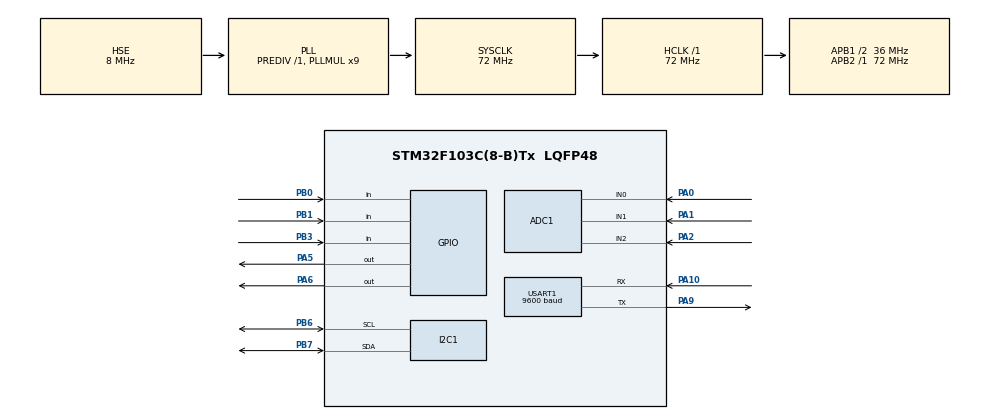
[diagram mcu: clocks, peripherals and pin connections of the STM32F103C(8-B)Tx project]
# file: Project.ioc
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ADC1.Channel-0\#ChannelRegularConversion=ADC_CHANNEL_0
ADC1.Channel-1\#ChannelRegularConversion=ADC_CHANNEL_1
ADC1.Channel-2\#ChannelRegularConversion=ADC_CHANNEL_2
ADC1.ContinuousConvMode=ENABLE
ADC1.NbrOfConversion=3
ADC1.NbrOfConversionFlag=1
ADC1.Rank-0\#ChannelRegularConversion=1
ADC1.Rank-1\#ChannelRegularConversion=2
ADC1.Rank-2\#ChannelRegularConversion=3
ADC1.SamplingTime-0\#ChannelRegularConversion=ADC_SAMPLETIME_239CYCLES_5
ADC1.SamplingTime-1\#ChannelRegularConversion=ADC_SAMPLETIME_239CYCLES_5
ADC1.SamplingTime-2\#ChannelRegularConversion=ADC_SAMPLETIME_239CYCLES_5
ADC1.master=1
Dma.ADC1.0.Direction=DMA_PERIPH_TO_MEMORY
Dma.ADC1.0.Instance=DMA1_Channel1
Dma.ADC1.0.MemDataAlignment=DMA_MDATAALIGN_HALFWORD
Dma.ADC1.0.MemInc=DMA_MINC_ENABLE
Dma.ADC1.0.Mode=DMA_CIRCULAR
Dma.ADC1.0.PeriphDataAlignment=DMA_PDATAALIGN_HALFWORD
Dma.ADC1.0.PeriphInc=DMA_PINC_DISABLE
Dma.ADC1.0.Priority=DMA_PRIORITY_LOW
Dma.Request0=ADC1
FREERTOS.Tasks01=Tast01,0,128,DisplayLCD,Default,NULL,Dynamic,NULL,NULL;Task02,0,128,Warning,Default,NULL,Dynamic,NULL,NULL;Task03,0,128,TogglePin,Default,NULL,Dynamic,NULL,NULL;Task04,0,128,ReadADC,Default,NULL,Dynamic,NULL,NULL
FREERTOS.configUSE_NEWLIB_REENTRANT=1
FREERTOS.copyHeapFile=1
Mcu.Family=STM32F1
Mcu.Name=STM32F103C(8-B)Tx
Mcu.Package=LQFP48
NVIC.ADC1_2_IRQn=true\:0\:0\:false\:false\:true\:false\:true\:true\:true
NVIC.DMA1_Channel1_IRQn=true\:5\:0\:true\:false\:true\:true\:false\:true\:true
NVIC.PriorityGroup=NVIC_PRIORITYGROUP_4
NVIC.TIM1_UP_IRQn=true\:15\:0\:false\:false\:true\:false\:false\:true\:true
NVIC.TimeBase=TIM1_UP_IRQn
NVIC.TimeBaseIP=TIM1
NVIC.USART1_IRQn=true\:0\:0\:true\:false\:true\:false\:true\:true\:true
PA0-WKUP.Signal=ADCx_IN0
PA1.Signal=ADCx_IN1
PA10.Mode=Asynchronous
PA10.Signal=USART1_RX
PA13.Mode=Serial_Wire
PA13.Signal=SYS_JTMS-SWDIO
PA14.Mode=Serial_Wire
PA14.Signal=SYS_JTCK-SWCLK
PA2.Signal=ADCx_IN2
PA5.GPIO_Speed=GPIO_SPEED_FREQ_LOW
PA5.PinState=GPIO_PIN_SET
PA5.Signal=GPIO_Output
PA6.GPIO_Speed=GPIO_SPEED_FREQ_LOW
PA6.PinState=GPIO_PIN_RESET
PA6.Signal=GPIO_Output
PA9.Mode=Asynchronous
PA9.Signal=USART1_TX
PB0.GPIO_PuPd=GPIO_PULLUP
PB0.Signal=GPIO_Input
PB1.GPIO_PuPd=GPIO_PULLUP
PB1.Signal=GPIO_Input
PB3.GPIO_PuPd=GPIO_PULLUP
PB3.Signal=GPIO_Input
PB6.Mode=I2C
PB6.Signal=I2C1_SCL
PB7.Mode=I2C
PB7.Signal=I2C1_SDA
PD0-OSC_IN.Mode=HSE-External-Oscillator
PD0-OSC_IN.Signal=RCC_OSC_IN
PD1-OSC_OUT.Mode=HSE-External-Oscillator
PD1-OSC_OUT.Signal=RCC_OSC_OUT
ProjectManager.HeapSize=0x200
ProjectManager.StackSize=0x400
ProjectManager.TargetToolchain=STM32CubeIDE
RCC.ADCPresc=RCC_ADCPCLK2_DIV6
RCC.AHBFreq_Value=72000000
RCC.APB1CLKDivider=RCC_HCLK_DIV2
RCC.APB1Freq_Value=36000000
RCC.APB1TimFreq_Value=72000000
RCC.APB2Freq_Value=72000000
RCC.APB2TimFreq_Value=72000000
RCC.HCLKFreq_Value=72000000
RCC.PLLMUL=RCC_PLL_MUL9
RCC.PLLSourceVirtual=RCC_PLLSOURCE_HSE
RCC.SYSCLKFreq_VALUE=72000000
RCC.SYSCLKSource=RCC_SYSCLKSOURCE_PLLCLK
RCC.USBFreq_Value=72000000
SH.ADCx_IN0.0=ADC1_IN0,IN0
SH.ADCx_IN1.0=ADC1_IN1,IN1
SH.ADCx_IN2.0=ADC1_IN2,IN2
USART1.BaudRate=9600
USART1.VirtualMode=VM_ASYNC
VP_FREERTOS_VS_CMSIS_V1.Mode=CMSIS_V1
VP_SYS_VS_tim1.Mode=TIM1
board=custom

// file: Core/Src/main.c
/* USER CODE BEGIN Header */
/**
 ******************************************************************************
 * @file           : main.c
 * @brief          : Main program body
 ******************************************************************************
 * @attention
 *
 * Copyright (c) 2023 STMicroelectronics.
 * All rights reserved.
 *
 * This software is licensed under terms that can be found in the LICENSE file
 * in the root directory of this software component.
 * If no LICENSE file comes with this software, it is provided AS-IS.
 *
 ******************************************************************************
 */
/* USER CODE END Header */
#include "main.h"
#include "cmsis_os.h"

/* USER CODE BEGIN Includes */
#include "stdio.h"
#include "lcd_16x2.h"
#include "string.h"
/* USER CODE END Includes */

ADC_HandleTypeDef hadc1;
DMA_HandleTypeDef hdma_adc1;

I2C_HandleTypeDef hi2c1;

UART_HandleTypeDef huart1;

osThreadId Tast01Handle;
osThreadId Task02Handle;
osThreadId Task03Handle;
osThreadId Task04Handle;
/* USER CODE BEGIN PV */

uint16_t var[3];
uint16_t gasVariable=0,fireVariable=0,tempVariable=0;
//uint8_t gas=0, fire=0, temp=0;
char a[20];
uint8_t buff[10];
volatile uint8_t send,resend;
static volatile uint8_t tempRange=80,fireRange=80,gasRange=80;
static volatile uint8_t menu,chose;

/* USER CODE END PV */

void SystemClock_Config(void);
static void MX_GPIO_Init(void);
static void MX_DMA_Init(void);
static void MX_ADC1_Init(void);
static void MX_USART1_UART_Init(void);
static void MX_I2C1_Init(void);
void DisplayLCD(void const * argument);
void Warning(void const * argument);
void TogglePin(void const * argument);
void ReadADC(void const * argument);

/* USER CODE BEGIN 0 */

							/*HAM CHONG DOI NUT NHAN */

uint8_t debounce(GPIO_TypeDef* GPIOx, uint16_t GPIO_Pin)
{
	    if (HAL_GPIO_ReadPin(GPIOx, GPIO_Pin) == 0)
	    {
	    	HAL_Delay(80);
	        if (HAL_GPIO_ReadPin(GPIOx, GPIO_Pin) == 0)
	        {
	            return 1;
	        }
	    }
	    return 0;
}

                                  /* HAM DE HIEN THI LEN LCD */
void HienThiCacDonVi (void)
{

	uint8_t degreeC[8] = { 0b00110, 0b00110 };    /*cai nay de tao ra dau do*/
	/*Nhan nut menu*/
	if (debounce(GPIOB, GPIO_PIN_0)==1)
	{
		Lcd_clear_display();
		menu=menu+1;
	}

	if(menu==0)
	{
	Lcd_gotoxy(0, 0);
	sprintf(a, "%d  ", tempVariable);
	Lcd_write_string(a);
	Lcd_gotoxy(11, 0);
	sprintf(a, "%d  ", gasVariable);
	Lcd_write_string(a);
	Lcd_gotoxy(11, 1);
	sprintf(a, "%d  ", fireVariable);
	Lcd_write_string(a);
	Lcd_create_custom_char(0, degreeC);
	Lcd_write_custom_char(3, 0, 0);
	Lcd_gotoxy(4, 0);
	Lcd_write_string("C");
	Lcd_gotoxy(8, 0);
	Lcd_write_string("Ga:");
	Lcd_gotoxy(15, 0);
	Lcd_write_string("%");
	Lcd_gotoxy(8, 1);
	Lcd_write_string("Fi:");
	Lcd_gotoxy(15, 1);
	Lcd_write_string("%");
	}

		if(menu==1)
		{
			Lcd_gotoxy(0, 0);
			Lcd_write_string("Temp range:");
			Lcd_create_custom_char(0, degreeC);
			Lcd_write_custom_char(3, 1, 0);
			Lcd_gotoxy(4, 1);
			Lcd_write_string("C");
			Lcd_gotoxy(0, 1);
			Lcd_write_int(tempRange);
			if (debounce(GPIOB, GPIO_PIN_1)==1)
			{
				tempRange++;
				Lcd_clear_xy(0,1);
				Lcd_clear_xy(1,1);
				Lcd_clear_xy(2,1);
				if(tempRange >150)
				{
					tempRange=20;
				}
			}
			if (debounce(GPIOB, GPIO_PIN_3)==1)
			{
				tempRange--;
				Lcd_clear_xy(0,1);
				Lcd_clear_xy(1,1);
				Lcd_clear_xy(2,1);
				if(tempRange<20)
				{
					tempRange=150;
				}
			}
		}

		if(menu==2)
			{
				Lcd_gotoxy(0, 0);
				Lcd_write_string("Gas range:");
				Lcd_gotoxy(0, 1);
				Lcd_write_int(gasRange);
				Lcd_gotoxy(4, 1);
				Lcd_write_string("%");
				if (debounce(GPIOB, GPIO_PIN_1)==1)
				{
					gasRange++;
					Lcd_clear_xy(0,1);
					Lcd_clear_xy(1,1);
					Lcd_clear_xy(2,1);
					if(gasRange>100)
					{
						gasRange=0;
					}
				}
				if (debounce(GPIOB, GPIO_PIN_3)==1)
				{
					gasRange--;
					Lcd_clear_xy(0,1);
					Lcd_clear_xy(1,1);
					Lcd_clear_xy(2,1);
					if(gasRange<0)
					{
						gasRange=100;
					}
				}
			}

		if(menu==3)
			{
				Lcd_gotoxy(0, 0);
				Lcd_write_string("Fire range:");
				Lcd_gotoxy(0, 1);
				Lcd_write_int(fireRange);
				Lcd_gotoxy(4, 1);
				Lcd_write_string("%");
				if (debounce(GPIOB, GPIO_PIN_1)==1)
				{
					fireRange++;
					Lcd_clear_xy(0,1);
					Lcd_clear_xy(1,1);
					Lcd_clear_xy(2,1);
					if(fireRange>100)
					{
						fireRange=0;
					}
				}
				if (debounce(GPIOB, GPIO_PIN_3)==1)
				{
					fireRange--;
					Lcd_clear_xy(0,1);
					Lcd_clear_xy(1,1);
					Lcd_clear_xy(2,1);
					if(fireRange<0)
					{
						fireRange=100;
					}
				}
			}

		if(menu>3)
		{
			menu=0;
		}
	}

										/*   HAM GUI TIN HIEU SMS    */
void SendWarning()
{
	const char* warningMsg1 = "AT+CMGS=\"0765214176\"\r\n";
	HAL_UART_Transmit(&huart1,(uint8_t*)warningMsg1,strlen(warningMsg1),HAL_MAX_DELAY);
	HAL_Delay(5000);
	const char* warningMsg2 = "WARNING VERY HIGH PRESS '1' TO SHUT DOWN\x1A\r\n";
	HAL_UART_Transmit(&huart1, (uint8_t*)warningMsg2, strlen(warningMsg2),HAL_MAX_DELAY);
	HAL_Delay(5000);
	const char* warningMsg3 = "AT+CMGD=1,4\r\n";
	HAL_UART_Transmit(&huart1, (uint8_t*)warningMsg3, strlen(warningMsg3),HAL_MAX_DELAY);
	HAL_Delay(10000);
}

                                        /*    HAM CANH BAO MUC DO   */

int CanhBao (uint16_t a /*temp*/, uint16_t b /*gas*/, uint16_t c /*fire*/ )
{

	if (/*a >= tempRange ||*/ b >= gasRange || c >= fireRange)
	{
		return 1;
	}
	else
	{
		return 0;
	}
}

                           /*       NGAT NGOAI XAY RA KHI CO BUFFER NHAN VE     */
void HAL_UART_RxCpltCallback(UART_HandleTypeDef *huart)
{
  if(huart->Instance == USART1)
  {
		  if (buff[1] == '1' && send == 1)
	          {
	              HAL_GPIO_WritePin(GPIOA, GPIO_PIN_5, 0);
	              memset(buff, 0, sizeof(buff));
	              const char* warningMsg4 = "SYSTEM NOW OFF\n";
	              HAL_UART_Transmit(&huart1,(uint8_t *)warningMsg4,strlen(warningMsg4),HAL_MAX_DELAY);
	              resend = 1;
	          }
	          HAL_UART_Receive_IT(&huart1, buff, sizeof(buff));
  }
}

void BuzzerSound()
{
	HAL_GPIO_WritePin(GPIOA, GPIO_PIN_6,1);
	HAL_Delay(500);
	HAL_GPIO_WritePin(GPIOA, GPIO_PIN_6,0);
	HAL_Delay(100);
	HAL_GPIO_WritePin(GPIOA, GPIO_PIN_6,1);
	HAL_Delay(100);
	HAL_GPIO_WritePin(GPIOA, GPIO_PIN_6,0);
	HAL_Delay(100);
	HAL_GPIO_WritePin(GPIOA, GPIO_PIN_6,1);
	HAL_Delay(100);
	HAL_GPIO_WritePin(GPIOA, GPIO_PIN_6,0);
	HAL_Delay(100);
}

/* USER CODE END 0 */

int main(void)
{

  /* MCU Configuration--------------------------------------------------------*/

  /* Reset of all peripherals, Initializes the Flash interface and the Systick. */
  HAL_Init();

  /* Configure the system clock */
  SystemClock_Config();

  /* USER CODE BEGIN SysInit */
  Lcd_Init();
  /* USER CODE END SysInit */

  /* Initialize all configured peripherals */
  MX_GPIO_Init();
  MX_DMA_Init();
  MX_ADC1_Init();
  MX_USART1_UART_Init();
  MX_I2C1_Init();
  /* USER CODE BEGIN 2 */
  memset(buff, 0, sizeof(buff));
  HAL_ADC_Start_DMA(&hadc1, (uint32_t*) var, 3);
//  HAL_UART_Receive_IT(&huart1, buff, 1);
  Lcd_clear_display();
  /* USER CODE END 2 */

  /* Create the thread(s) */
  /* definition and creation of Tast01 */
  osThreadDef(Tast01, DisplayLCD, osPriorityNormal, 0, 128);
  Tast01Handle = osThreadCreate(osThread(Tast01), NULL);

  /* definition and creation of Task02 */
  osThreadDef(Task02, Warning, osPriorityNormal, 0, 128);
  Task02Handle = osThreadCreate(osThread(Task02), NULL);

  /* definition and creation of Task03 */
  osThreadDef(Task03, TogglePin, osPriorityNormal, 0, 128);
  Task03Handle = osThreadCreate(osThread(Task03), NULL);

  /* definition and creation of Task04 */
  osThreadDef(Task04, ReadADC, osPriorityNormal, 0, 128);
  Task04Handle = osThreadCreate(osThread(Task04), NULL);

  /* Start scheduler */
  osKernelStart();

  /* We should never get here as control is now taken by the scheduler */
  /* Infinite loop */
	while (1)
	{

    /* USER CODE BEGIN 3 */
		/*    GAN GIA TRI    */

	}

  /* USER CODE END 3 */
}

void SystemClock_Config(void)
{
  RCC_OscInitTypeDef RCC_OscInitStruct = {0};
  RCC_ClkInitTypeDef RCC_ClkInitStruct = {0};
  RCC_PeriphCLKInitTypeDef PeriphClkInit = {0};

  /** Initializes the RCC Oscillators according to the specified parameters
  * in the RCC_OscInitTypeDef structure.
  */
  RCC_OscInitStruct.OscillatorType = RCC_OSCILLATORTYPE_HSE;
  RCC_OscInitStruct.HSEState = RCC_HSE_ON;
  RCC_OscInitStruct.HSEPredivValue = RCC_HSE_PREDIV_DIV1;
  RCC_OscInitStruct.HSIState = RCC_HSI_ON;
  RCC_OscInitStruct.PLL.PLLState = RCC_PLL_ON;
  RCC_OscInitStruct.PLL.PLLSource = RCC_PLLSOURCE_HSE;
  RCC_OscInitStruct.PLL.PLLMUL = RCC_PLL_MUL9;
  if (HAL_RCC_OscConfig(&RCC_OscInitStruct) != HAL_OK)
  {
    Error_Handler();
  }

  /** Initializes the CPU, AHB and APB buses clocks
  */
  RCC_ClkInitStruct.ClockType = RCC_CLOCKTYPE_HCLK|RCC_CLOCKTYPE_SYSCLK
                              |RCC_CLOCKTYPE_PCLK1|RCC_CLOCKTYPE_PCLK2;
  RCC_ClkInitStruct.SYSCLKSource = RCC_SYSCLKSOURCE_PLLCLK;
  RCC_ClkInitStruct.AHBCLKDivider = RCC_SYSCLK_DIV1;
  RCC_ClkInitStruct.APB1CLKDivider = RCC_HCLK_DIV2;
  RCC_ClkInitStruct.APB2CLKDivider = RCC_HCLK_DIV1;

  if (HAL_RCC_ClockConfig(&RCC_ClkInitStruct, FLASH_LATENCY_2) != HAL_OK)
  {
    Error_Handler();
  }
  PeriphClkInit.PeriphClockSelection = RCC_PERIPHCLK_ADC;
  PeriphClkInit.AdcClockSelection = RCC_ADCPCLK2_DIV6;
  if (HAL_RCCEx_PeriphCLKConfig(&PeriphClkInit) != HAL_OK)
  {
    Error_Handler();
  }
}

static void MX_ADC1_Init(void)
{

  ADC_ChannelConfTypeDef sConfig = {0};

  /** Common config
  */
  hadc1.Instance = ADC1;
  hadc1.Init.ScanConvMode = ADC_SCAN_ENABLE;
  hadc1.Init.ContinuousConvMode = ENABLE;
  hadc1.Init.DiscontinuousConvMode = DISABLE;
  hadc1.Init.ExternalTrigConv = ADC_SOFTWARE_START;
  hadc1.Init.DataAlign = ADC_DATAALIGN_RIGHT;
  hadc1.Init.NbrOfConversion = 3;
  if (HAL_ADC_Init(&hadc1) != HAL_OK)
  {
    Error_Handler();
  }

  /** Configure Regular Channel
  */
  sConfig.Channel = ADC_CHANNEL_0;
  sConfig.Rank = ADC_REGULAR_RANK_1;
  sConfig.SamplingTime = ADC_SAMPLETIME_239CYCLES_5;
  if (HAL_ADC_ConfigChannel(&hadc1, &sConfig) != HAL_OK)
  {
    Error_Handler();
  }

  /** Configure Regular Channel
  */
  sConfig.Channel = ADC_CHANNEL_1;
  sConfig.Rank = ADC_REGULAR_RANK_2;
  if (HAL_ADC_ConfigChannel(&hadc1, &sConfig) != HAL_OK)
  {
    Error_Handler();
  }

  /** Configure Regular Channel
  */
  sConfig.Channel = ADC_CHANNEL_2;
  sConfig.Rank = ADC_REGULAR_RANK_3;
  if (HAL_ADC_ConfigChannel(&hadc1, &sConfig) != HAL_OK)
  {
    Error_Handler();
  }

}

static void MX_I2C1_Init(void)
{

  hi2c1.Instance = I2C1;
  hi2c1.Init.ClockSpeed = 100000;
  hi2c1.Init.DutyCycle = I2C_DUTYCYCLE_2;
  hi2c1.Init.OwnAddress1 = 0;
  hi2c1.Init.AddressingMode = I2C_ADDRESSINGMODE_7BIT;
  hi2c1.Init.DualAddressMode = I2C_DUALADDRESS_DISABLE;
  hi2c1.Init.OwnAddress2 = 0;
  hi2c1.Init.GeneralCallMode = I2C_GENERALCALL_DISABLE;
  hi2c1.Init.NoStretchMode = I2C_NOSTRETCH_DISABLE;
  if (HAL_I2C_Init(&hi2c1) != HAL_OK)
  {
    Error_Handler();
  }

}

static void MX_USART1_UART_Init(void)
{

  huart1.Instance = USART1;
  huart1.Init.BaudRate = 9600;
  huart1.Init.WordLength = UART_WORDLENGTH_8B;
  huart1.Init.StopBits = UART_STOPBITS_1;
  huart1.Init.Parity = UART_PARITY_NONE;
  huart1.Init.Mode = UART_MODE_TX_RX;
  huart1.Init.HwFlowCtl = UART_HWCONTROL_NONE;
  huart1.Init.OverSampling = UART_OVERSAMPLING_16;
  if (HAL_UART_Init(&huart1) != HAL_OK)
  {
    Error_Handler();
  }

}

static void MX_DMA_Init(void)
{

  /* DMA controller clock enable */
  __HAL_RCC_DMA1_CLK_ENABLE();

  /* DMA interrupt init */
  /* DMA1_Channel1_IRQn interrupt configuration */
  HAL_NVIC_SetPriority(DMA1_Channel1_IRQn, 5, 0);
  HAL_NVIC_EnableIRQ(DMA1_Channel1_IRQn);

}

static void MX_GPIO_Init(void)
{
  GPIO_InitTypeDef GPIO_InitStruct = {0};

  /* GPIO Ports Clock Enable */
  __HAL_RCC_GPIOD_CLK_ENABLE();
  __HAL_RCC_GPIOA_CLK_ENABLE();
  __HAL_RCC_GPIOB_CLK_ENABLE();

  /*Configure GPIO pin Output Level */
  HAL_GPIO_WritePin(GPIOA, GPIO_PIN_5, GPIO_PIN_SET);

  /*Configure GPIO pin Output Level */
  HAL_GPIO_WritePin(GPIOA, GPIO_PIN_6, GPIO_PIN_RESET);

  /*Configure GPIO pins : PA5 PA6 */
  GPIO_InitStruct.Pin = GPIO_PIN_5|GPIO_PIN_6;
  GPIO_InitStruct.Mode = GPIO_MODE_OUTPUT_PP;
  GPIO_InitStruct.Pull = GPIO_NOPULL;
  GPIO_InitStruct.Speed = GPIO_SPEED_FREQ_LOW;
  HAL_GPIO_Init(GPIOA, &GPIO_InitStruct);

  /*Configure GPIO pins : PB0 PB1 PB3 */
  GPIO_InitStruct.Pin = GPIO_PIN_0|GPIO_PIN_1|GPIO_PIN_3;
  GPIO_InitStruct.Mode = GPIO_MODE_INPUT;
  GPIO_InitStruct.Pull = GPIO_PULLUP;
  HAL_GPIO_Init(GPIOB, &GPIO_InitStruct);

}

void DisplayLCD(void const * argument)
{
  /* USER CODE BEGIN 5 */
  /* Infinite loop */
  for(;;)
  {
	HienThiCacDonVi();
    osDelay(1);
  }
  /* USER CODE END 5 */
}

void Warning(void const * argument)
{
  /* USER CODE BEGIN Warning */
	HAL_UART_Receive_IT(&huart1, buff, 1);
  /* Infinite loop */
  for(;;)
  {
	if(CanhBao(tempVariable,gasVariable,fireVariable) == 1  && resend == 0)
	{
			SendWarning();
	}
    osDelay(1);
  }
  /* USER CODE END Warning */
}

void TogglePin(void const * argument)
{
  /* USER CODE BEGIN TogglePin */
  /* Infinite loop */
  for(;;)
  {
	if(CanhBao(tempVariable,gasVariable,fireVariable) == 1)
	{
		if(resend == 1)
		{
			send=0;
		}
		else
		{
			BuzzerSound();
			send=1;
		}
	}
	else if(CanhBao(tempVariable,gasVariable,fireVariable) == 0)
	{
		HAL_GPIO_WritePin(GPIOA, GPIO_PIN_6,0);
		send=0;
	}
    osDelay(1);
  }
  /* USER CODE END TogglePin */
}

void ReadADC(void const * argument)
{
  /* USER CODE BEGIN ReadADC */
  /* Infinite loop */
  for(;;)
  {
	tempVariable=((var[0]*500)/4095);
	gasVariable=((var[1] * 100) / 4095);
	fireVariable=(((4095 - var[2]) * 100) / 4095);
    osDelay(1);
  }
  /* USER CODE END ReadADC */
}

void HAL_TIM_PeriodElapsedCallback(TIM_HandleTypeDef *htim)
{
  if (htim->Instance == TIM1) {
    HAL_IncTick();
  }
}

void Error_Handler(void)
{
	__disable_irq();
	while (1) {
	}
}
